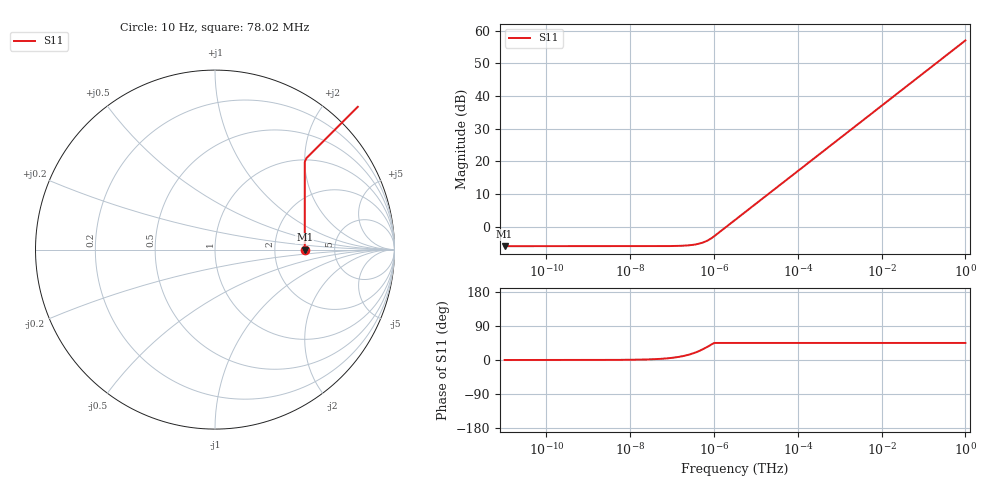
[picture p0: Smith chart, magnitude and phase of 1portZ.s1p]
# Hz S RI R 50
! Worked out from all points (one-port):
!   400 points, 10 Hz to 1 THz, reference 50 ohm
!   lowest |S11| = -6.0 dB at 10 Hz (marker M1), VSWR 3.00, Z = 150 + j0.002 ohm
!   |S11| at or under -10 dB: nowhere
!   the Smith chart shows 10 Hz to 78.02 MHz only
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10  0.5 5e-06
239.0265  0.5 0.00012
5713.368  0.5 0.00286
136564.7  0.5 0.0683
3264258  0.9034 0.9034
7.802442e7  4.417 4.417
4.61488e8  10.74 10.74
1.864991e9  21.59 21.59
4.83293e9  34.76 34.76
1.103079e10  52.51 52.51
1.614433e10  63.53 63.53
2.362836e10  76.86 76.86
3.245474e10  90.08 90.08
4.457823e10  105.6 105.6
7.407543e10  136.1 136.1
1.155199e11  169.9 169.9
1.489129e11  192.9 192.9
1.80152e11  212.2 212.2
2.179445e11  233.4 233.4
2.636651e11  256.7 256.7
3.18977e11  282.4 282.4
3.858923e11  310.6 310.6
4.668452e11  341.6 341.6
5.300426e11  364 364
6.412355e11  400.4 400.4
7.280402e11  426.6 426.6
8.807693e11  469.2 469.2
1e12  500 500
